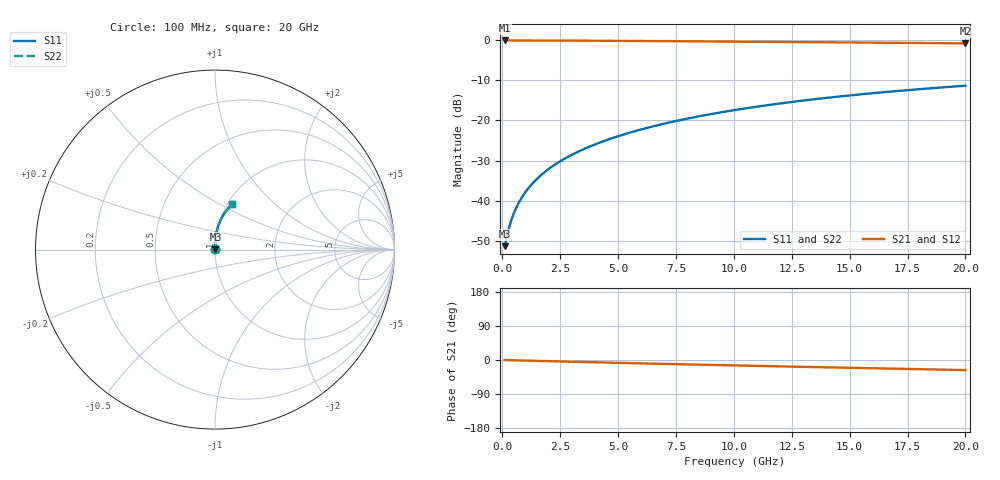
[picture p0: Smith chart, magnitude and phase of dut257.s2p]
! Touchstone file exported from HFSS 2024.1.0
!  File:  C:/UserFiles/LocalFiles/RDL_TSV_Batchsim/temp_RDL_top_257_1778689141.aedt
!  Generated:  12:21:25 AM May 14, 2026
!  Design:  RDL_top
!  Project:  temp_RDL_top_257_1778689141
!  Setup:  Setup1
!  Solution:  Sweep
! Variables:
!  dtsv = 10.80580581um
!  hbump = 3um
!  htsv = 80um
!  ldown = 100um
!  lrdl = 345.99um
!  p = 40
!  p1 = 49.27um
!  rhole = 1um
!  t = 450um
!  tdown = 3.915915916um
!  trdl = 2.69um
!  wdown = 15.38538539um
!  wrdl = 22.17um
# GHz S MA R 50.000000
! Terminal data exported
! Port[1] = Box2_T1
! Port[2] = Box2_T2
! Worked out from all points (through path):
!   200 points, 100 MHz to 20 GHz, reference 50 ohm
!   highest |S21| = -0.02 dB at 100 MHz (marker M1); lowest = -0.7 dB at 20 GHz (marker M2)
!   group delay of S21, straight-line fit = 3.67 ps
!   lowest |S11| = -51.4 dB at 100 MHz (marker M3), VSWR 1.01, Z = 50.2 + j0.136 ohm
!   |S11| at or under -10 dB: start of sweep to end of sweep
!   |S22| runs from -51.4 to -11.3 dB; largest |S21 - S12| = 3.1e-15
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0.1  0.002697 30.0  0.9977 -0.2  0.9977 -0.2  0.002697 30.0
! Gamma 0 0 0 0
! Port Impedance 50 0 50 0
0.2  0.003595 48.0  0.9976 -0.3  0.9976 -0.3  0.003595 48.0
0.3  0.004676 57.7  0.9975 -0.5  0.9975 -0.5  0.004676 57.7
0.4  0.00581 63.6  0.9973 -0.6  0.9973 -0.6  0.00581 63.6
0.5  0.006956 67.4  0.9972 -0.8  0.9972 -0.8  0.006956 67.4
0.6  0.008106 70.3  0.9971 -0.9  0.9971 -0.9  0.008106 70.3
0.8  0.01042 74.2  0.9968 -1.3  0.9968 -1.3  0.01042 74.2
1.1  0.01393 78.0  0.9965 -1.7  0.9965 -1.7  0.01393 78.0
1.3  0.0163 79.6  0.9962 -2.0  0.9962 -2.0  0.0163 79.6
1.6  0.0199 81.5  0.9958 -2.5  0.9958 -2.5  0.0199 81.5
2.1  0.02599 83.4  0.9949 -3.2  0.9949 -3.2  0.02599 83.4
2.7  0.03346 84.8  0.9936 -4.1  0.9936 -4.1  0.03346 84.8
3.5  0.04367 85.8  0.9914 -5.3  0.9914 -5.3  0.04367 85.8
4.2  0.05284 86.1  0.9892 -6.4  0.9892 -6.4  0.05284 86.1
5  0.06357 86.2  0.9864 -7.5  0.9864 -7.5  0.06357 86.2
5.9  0.07594 85.9  0.983 -8.8  0.983 -8.8  0.07593 85.9
6.8  0.08854 85.3  0.9793 -10.1  0.9793 -10.1  0.08854 85.3
8.4  0.1114 83.9  0.9724 -12.2  0.9724 -12.2  0.1114 83.9
10.1  0.1359 82.0  0.9648 -14.5  0.9648 -14.5  0.1359 82.0
13.4  0.1831 77.9  0.9496 -18.7  0.9496 -18.7  0.183 77.8
16.7  0.2285 73.5  0.934 -22.7  0.934 -22.7  0.2285 73.5
20  0.2716 69.2  0.9181 -26.6  0.9181 -26.6  0.2715 69.2
